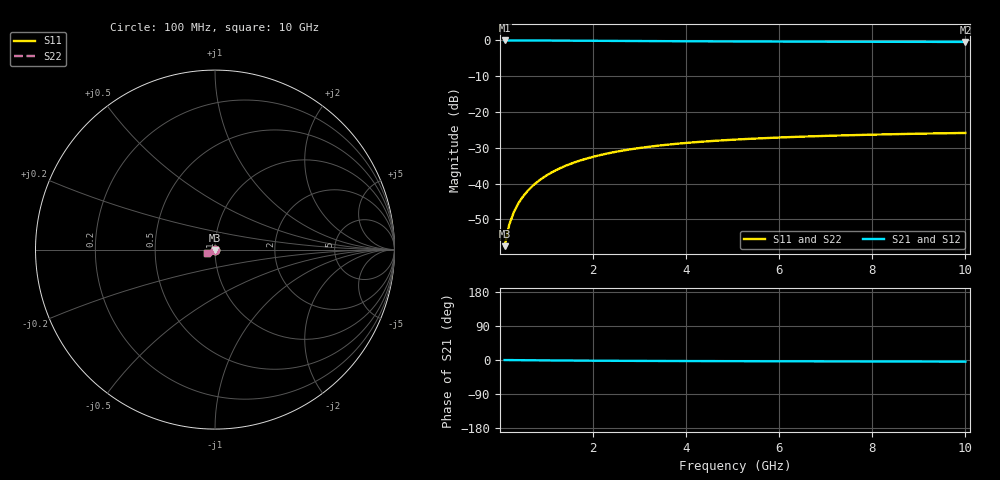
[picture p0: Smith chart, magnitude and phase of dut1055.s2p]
! Touchstone file exported from HFSS 2024.1.0
!  File:  C:/UserFiles/LocalFiles/RDL_TSV_Batchsim/temp_TSV1_1055_1780062978.aedt
!  Generated:  10:00:11 PM May 29, 2026
!  Design:  TSV1
!  Project:  temp_TSV1_1055_1780062978
!  Setup:  Setup1
!  Solution:  Sweep
! Variables:
!  dtsv = 13.02um
!  hbump = 3um
!  htsv = 64.24um
!  lrdl = 252.1521522um
!  p = 40
!  p1 = 42.79um
!  t = 500um
!  trdl = 3um
!  wrdl = 24.89489489um
# GHz S MA R 50.000000
! Terminal data exported
! Port[1] = TSV22_T1
! Port[2] = TSV22_T2
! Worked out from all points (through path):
!   100 points, 100 MHz to 10 GHz, reference 50 ohm
!   highest |S21| = 0.00 dB at 100 MHz (marker M1); lowest = -0.4 dB at 10 GHz (marker M2)
!   lowest |S11| = -57.5 dB at 100 MHz (marker M3), VSWR 1.00, Z = 50 - j0.134 ohm
!   |S11| at or under -10 dB: start of sweep to end of sweep
!   |S22| runs from -57.5 to -25.8 dB; largest |S21 - S12| = 3.1e-15
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0.1  0.001337 -88.0  0.9999 -0.1  0.9999 -0.1  0.001337 -88.0
! Gamma 0 0 0 0
! Port Impedance 50 0 50 0
0.2  0.002678 -91.0  0.9998 -0.2  0.9998 -0.2  0.002678 -91.0
0.3  0.00402 -93.1  0.9996 -0.3  0.9996 -0.3  0.00402 -93.1
0.4  0.005353 -94.9  0.9993 -0.4  0.9993 -0.4  0.005353 -94.9
0.5  0.006673 -96.5  0.999 -0.5  0.999 -0.5  0.006673 -96.5
0.6  0.007979 -98.1  0.9986 -0.6  0.9986 -0.6  0.007979 -98.1
0.7  0.009266 -99.7  0.9982 -0.7  0.9982 -0.7  0.009266 -99.7
0.8  0.01053 -101.2  0.9977 -0.8  0.9977 -0.8  0.01053 -101.2
0.9  0.01178 -102.7  0.9972 -0.9  0.9972 -0.9  0.01178 -102.7
1.1  0.0142 -105.5  0.9959 -1.1  0.9959 -1.1  0.0142 -105.5
1.4  0.01762 -109.5  0.9938 -1.4  0.9938 -1.4  0.01762 -109.5
1.6  0.01975 -112.1  0.9923 -1.5  0.9923 -1.5  0.01975 -112.1
1.8  0.02177 -114.5  0.9907 -1.7  0.9907 -1.7  0.02177 -114.5
2.1  0.02456 -117.9  0.9883 -1.9  0.9883 -1.9  0.02456 -117.9
2.5  0.02788 -122.0  0.9851 -2.1  0.9851 -2.1  0.02788 -122.0
2.9  0.03078 -125.6  0.982 -2.3  0.982 -2.3  0.03078 -125.6
3.4  0.03388 -129.6  0.9784 -2.6  0.9784 -2.6  0.03388 -129.6
4.2  0.03789 -135.0  0.9733 -2.8  0.9733 -2.8  0.03789 -135.0
5.1  0.04136 -139.8  0.9684 -3.1  0.9684 -3.1  0.04136 -139.8
6.7  0.04577 -146.3  0.9619 -3.5  0.9619 -3.5  0.04577 -146.3
8.4  0.04893 -151.3  0.9571 -3.9  0.9571 -3.9  0.04893 -151.3
10  0.05104 -154.9  0.9538 -4.3  0.9538 -4.3  0.05104 -154.9
